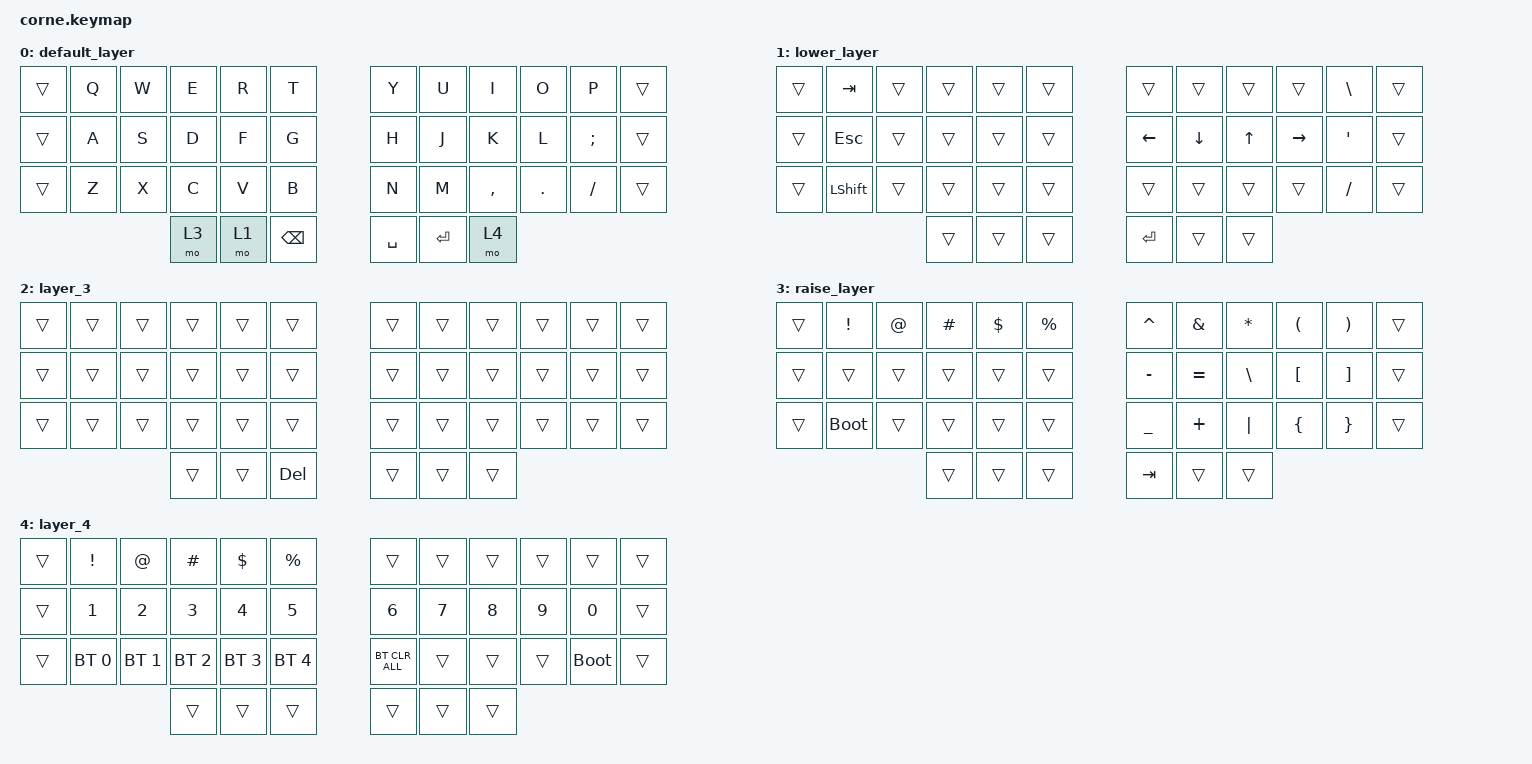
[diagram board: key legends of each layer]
/*
 * Copyright (c) 2020 The ZMK Contributors
 *
 * SPDX-License-Identifier: MIT
 */

#include <behaviors.dtsi>
#include <dt-bindings/zmk/bt.h>
#include <dt-bindings/zmk/keys.h>

/ {
    keymap {
        compatible = "zmk,keymap";

        default_layer {
            // -----------------------------------------------------------------------------------------
            // |  TAB |  Q  |  W  |  E  |  R  |  T  |   |  Y  |  U   |  I  |  O  |  P  | BSPC |
            // | CTRL |  A  |  S  |  D  |  F  |  G  |   |  H  |  J   |  K  |  L  |  ;  |  '   |
            // | SHFT |  Z  |  X  |  C  |  V  |  B  |   |  N  |  M   |  ,  |  .  |  /  | ESC  |
            //                    | GUI | LWR | SPC |   | ENT | RSE  | ALT |

            bindings = <
&trans  &kp Q  &kp W  &kp E  &kp R  &kp T            &kp Y      &kp U      &kp I      &kp O    &kp P     &trans
&trans  &kp A  &kp S  &kp D  &kp F  &kp G            &kp H      &kp J      &kp K      &kp L    &kp SEMI  &trans
&trans  &kp Z  &kp X  &kp C  &kp V  &kp B            &kp N      &kp M      &kp COMMA  &kp DOT  &kp FSLH  &trans
                      &mo 3  &mo 1  &kp BACKSPACE    &kp SPACE  &kp ENTER  &mo 4
            >;
        };

        lower_layer {
            // -----------------------------------------------------------------------------------------
            // |  TAB |  1  |  2  |  3  |  4  |  5  |   |  6  |  7  |  8  |  9  |  0  | BSPC |
            // | BTCLR| BT1 | BT2 | BT3 | BT4 | BT5 |   | LFT | DWN |  UP | RGT |     |      |
            // | SHFT |     |     |     |     |     |   |     |     |     |     |     |      |
            //                    | GUI |     | SPC |   | ENT |     | ALT |

            bindings = <
&trans  &kp TAB         &trans  &trans  &trans  &trans    &trans          &trans          &trans        &trans           &kp BACKSLASH     &trans
&trans  &kp ESCAPE      &trans  &trans  &trans  &trans    &kp LEFT_ARROW  &kp DOWN_ARROW  &kp UP_ARROW  &kp RIGHT_ARROW  &kp SINGLE_QUOTE  &trans
&trans  &kp LEFT_SHIFT  &trans  &trans  &trans  &trans    &trans          &trans          &trans        &trans           &kp SLASH         &trans
                                &trans  &trans  &trans    &kp ENTER       &trans          &trans
            >;
        };

        layer_3 {
            bindings = <
&trans  &trans  &trans  &trans  &trans  &trans        &trans  &trans  &trans  &trans  &trans  &trans
&trans  &trans  &trans  &trans  &trans  &trans        &trans  &trans  &trans  &trans  &trans  &trans
&trans  &trans  &trans  &trans  &trans  &trans        &trans  &trans  &trans  &trans  &trans  &trans
                        &trans  &trans  &kp DELETE    &trans  &trans  &trans
            >;
        };

        raise_layer {
            // -----------------------------------------------------------------------------------------
            // |  TAB |  !  |  @  |  #  |  $  |  %  |   |  ^  |  &  |  *  |  (  |  )  | BSPC |
            // | CTRL |     |     |     |     |     |   |  -  |  =  |  [  |  ]  |  \  |  `   |
            // | SHFT |     |     |     |     |     |   |  _  |  +  |  {  |  }  | "|" |  ~   |
            //                    | GUI |     | SPC |   | ENT |     | ALT |

            bindings = <
&trans  &kp EXCL     &kp AT  &kp HASH  &kp DLLR  &kp PRCNT    &kp CARET  &kp AMPS   &kp ASTRK      &kp LPAR          &kp RPAR           &trans
&trans  &trans       &trans  &trans    &trans    &trans       &kp MINUS  &kp EQUAL  &kp BACKSLASH  &kp LEFT_BRACKET  &kp RIGHT_BRACKET  &trans
&trans  &bootloader  &trans  &trans    &trans    &trans       &kp UNDER  &kp PLUS   &kp PIPE       &kp LEFT_BRACE    &kp RIGHT_BRACE    &trans
                             &trans    &trans    &trans       &kp TAB    &trans     &trans
            >;
        };

        layer_4 {
            bindings = <
&trans  &kp EXCLAMATION  &kp AT_SIGN   &kp POUND     &kp DOLLAR    &kp PERCENT     &trans          &trans        &trans        &trans        &trans        &trans
&trans  &kp NUMBER_1     &kp NUMBER_2  &kp NUMBER_3  &kp NUMBER_4  &kp NUMBER_5    &kp NUMBER_6    &kp NUMBER_7  &kp NUMBER_8  &kp NUMBER_9  &kp NUMBER_0  &trans
&trans  &bt BT_SEL 0     &bt BT_SEL 1  &bt BT_SEL 2  &bt BT_SEL 3  &bt BT_SEL 4    &bt BT_CLR_ALL  &trans        &trans        &trans        &bootloader   &trans
                                       &trans        &trans        &trans          &trans          &trans        &trans
            >;
        };
    };
};
